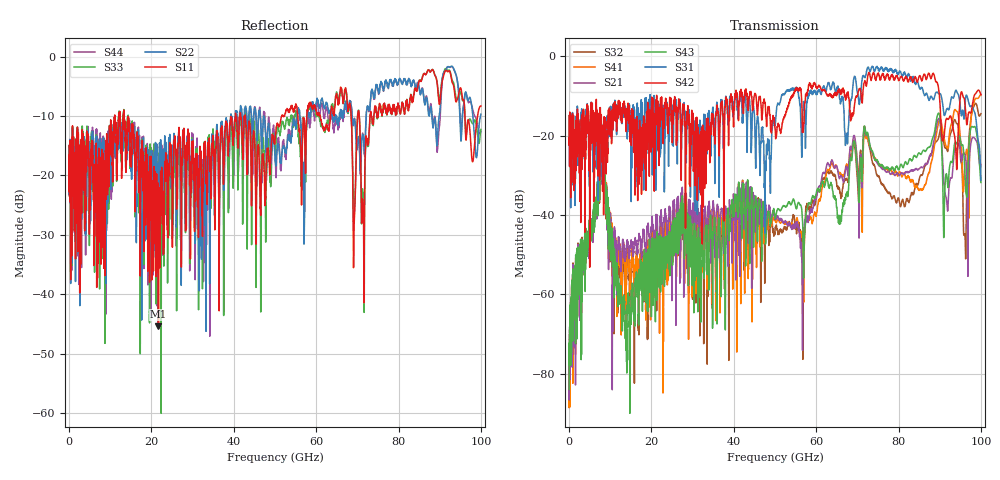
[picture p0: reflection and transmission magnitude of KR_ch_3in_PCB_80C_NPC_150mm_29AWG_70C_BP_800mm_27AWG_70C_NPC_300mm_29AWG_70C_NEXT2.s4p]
# GHz S RI R 45
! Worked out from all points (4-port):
!   4000 points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, 25 MHz to 100 GHz, reference 45 ohm
!   strongest paths, dB at 25 MHz, 25.02 GHz, 50.02 GHz, 75.03 GHz, 100 GHz:
!     S42: -20.7, -17.7, -18.0, -4.4, -9.7
!     S31: -20.6, -14.0, -17.3, -3.0, -31.3
!     S43: -84.0, -44.8, -40.7, -26.6, -31.8
!     S21: -81.9, -47.1, -40.8, -27.3, -27.3
!     S41: -88.5, -50.6, -41.2, -27.0, -9.7
!     S32: -83.4, -44.8, -43.9, -30.2, -14.5
!   lowest |S11| = -45.4 dB at 21.73 GHz (marker M1), VSWR 1.01, Z = 44.7 + j0.362 ohm
!   |S11| at or under -10 dB: start of sweep to 11.1 GHz; 13.4 GHz to 40.37 GHz (26.98 GHz wide, 100 % of centre); 42.8 GHz to 51.67 GHz (8.866 GHz wide, 18.8 % of centre)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
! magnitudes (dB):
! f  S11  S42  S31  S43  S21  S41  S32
! 25 MHz  -16.6  -20.7  -20.6  -84.0  -81.9  -88.5  -83.4
! 8.025 GHz  -17.7  -25.3  -25.5  -24.5  -25.6  -25.0  -25.4
! 13.62 GHz  -11.7  -13.3  -12.7  -68.1  -51.4  -54.6  -60.5
! 21.73 GHz  -45.4  -15.7  -18.2  -45.5  -48.6  -48.2  -46.7
! 93.8 GHz  -7.1  -21.8  -8.8  -21.7  -23.1  -13.5  -16.2
! 96.1 GHz  -9.6  -11.6  -13.3  -28.6  -24.7  -27.3  -44.9
! 100 GHz  -8.3  -9.7  -31.3  -31.8  -27.3  -9.7  -14.5
